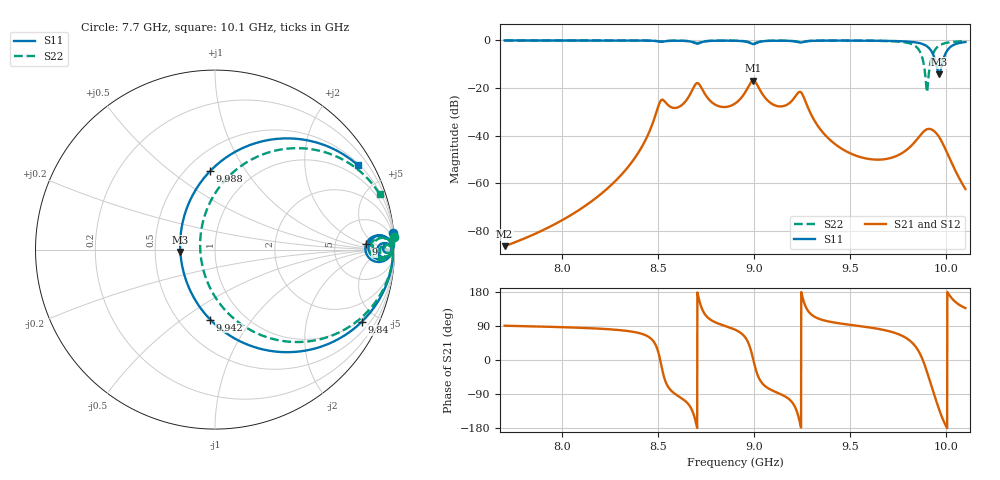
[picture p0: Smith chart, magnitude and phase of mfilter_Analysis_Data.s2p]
# MHz Y RI R 1
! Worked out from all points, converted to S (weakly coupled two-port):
!   2401 points, 7.7 GHz to 10.1 GHz, reference 1 ohm
!   highest |S21| = -16.86 dB at 8.995 GHz (marker M1); lowest = -86.4 dB at 7.7 GHz (marker M2)
!   lowest |S11| = -14.3 dB at 9.963 GHz (marker M3), VSWR 1.48, Z = 0.676 - j0.0177 ohm
!   |S11| at or under -10 dB: 9.947983 GHz to 9.978134 GHz (30.15 MHz wide, 0.303 % of centre)
!   |S22| runs from -21.7 to 0.0 dB; largest |S21 - S12| = 5.6e-17
!   S11 on the Smith chart (normalised r, x): 7.7 GHz: 1, +22; 9 GHz: 11, +2; 9.84 GHz: 0.87, -4.11; 9.942 GHz: 0.70, -0.65; 9.988 GHz: 0.65, +0.70; 10.1 GHz: 0.55, +3.58
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7700  0.00108 -0.046  -1.76e-06 -2.4e-05  -1.76e-06 -2.4e-05  0.00075 -0.035
7894  0.000991 -0.036  -4.89e-06 -5.06e-05  -4.89e-06 -5.06e-05  0.000732 -0.028
8100  0.00103 -0.0259  -2.02e-05 -0.000148  -2.02e-05 -0.000148  0.000805 -0.0204
8359  0.00186 -0.0102  -0.000365 -0.00129  -0.000365 -0.00129  0.00155 -0.00791
8500  0.0238 0.0099  -0.0197 -0.00823  -0.0197 -0.00823  0.0209 0.00915
8613  0.00769 0.00419  0.0027 0.0207  0.0027 0.0207  0.0065 0.00326
8704  0.0832 -0.00866  0.0734 -0.0033  0.0734 -0.0033  0.0695 -0.00731
8800  0.00692 -0.0158  0.00279 -0.0222  0.00279 -0.0222  0.00583 -0.0132
8900  0.0077 0.00941  -0.00372 -0.0237  -0.00372 -0.0237  0.00654 0.00813
8995  0.0949 -0.00145  -0.0844 -0.00167  -0.0844 -0.00167  0.0801 -0.000897
9000  0.0915 -0.0199  -0.0813 0.0159  -0.0813 0.0159  0.0773 -0.0165
9119  0.00678 -0.00659  -0.00123 0.0212  -0.00123 0.0212  0.00586 -0.00484
9242  0.0524 0.000876  0.0449 0.00474  0.0449 0.00474  0.0444 0.0022
9300  0.0101 -0.00882  0.0063 -0.0118  0.0063 -0.0118  0.0088 -0.00541
9472  0.00429 0.0267  0.000335 -0.00244  0.000335 -0.00244  0.00446 0.0279
9700  0.0115 0.0927  -7.51e-05 -0.00172  -7.51e-05 -0.00172  0.0165 0.1061
9840  0.0494 0.233  -0.00203 -0.00458  -0.00203 -0.00458  0.1564 0.3715
9899  0.1648 0.4341  -0.0182 0.0026  -0.0182 0.0026  1.175 0.0504
9942  0.7715 0.7094  0.00252 0.0158  0.00252 0.0158  0.2919 -0.5357
9963  1.478 0.0388  0.0123 0.00729  0.0123 0.00729  0.1496 -0.4188
9988  0.7127 -0.7691  0.00593 -0.00261  0.00593 -0.00261  0.0816 -0.3252
10100  0.042 -0.2728  0.000166 -0.000387  0.000166 -0.000387  0.0169 -0.1644
